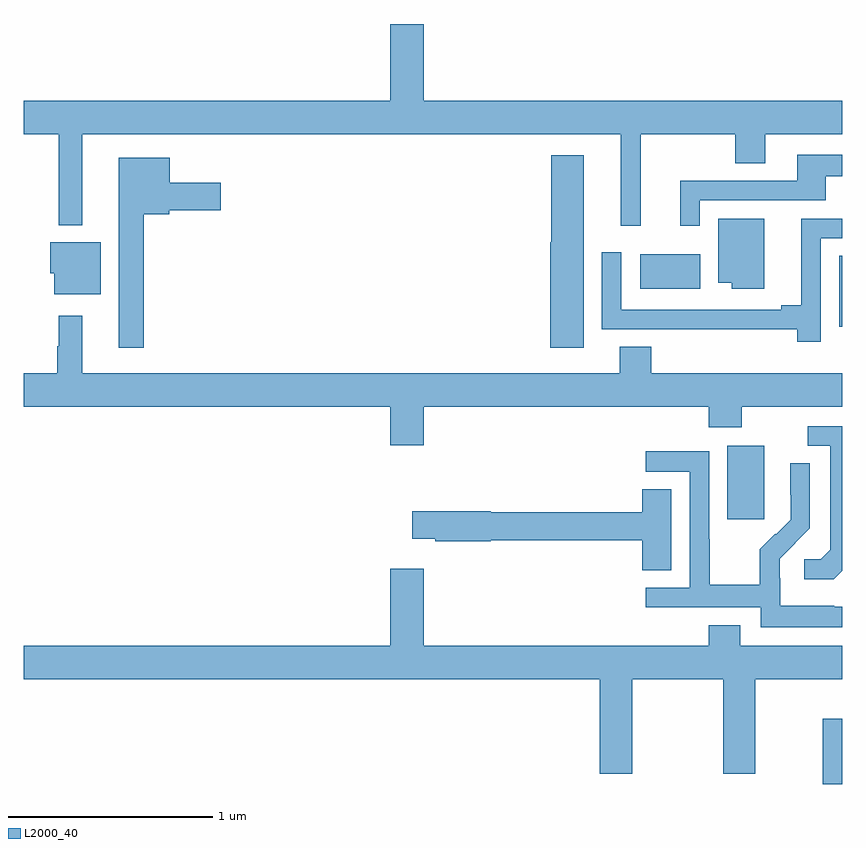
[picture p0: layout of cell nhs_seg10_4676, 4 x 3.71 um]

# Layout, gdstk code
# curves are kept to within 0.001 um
import gdstk
lib = gdstk.Library(unit=1e-6, precision=1e-09)
def R(c, l, rs):  # rectangles x0, y0, x1, y1
    for r in rs: c.add(gdstk.rectangle(r[:2], r[2:], *l))
def P(c, l, *ps):  # polygons
    for p in ps: c.add(gdstk.Polygon(p, *l))
L2000_40 = (2000, 40)

nhs_seg10_4676 = lib.new_cell('nhs_seg10_4676')
R(nhs_seg10_4676, L2000_40, [(382.905,1270.5,383,1270.819), (382.439,1271.793,382.618,1272.154), (382.985,1272.734,383,1273.082), (382.013,1272.92,382.306,1273.09)])
P(nhs_seg10_4676, L2000_40, [(382.016,1273.676),(382.477,1273.676),(382.477,1273.534),(382.624,1273.534),(382.624,1273.676),(383,1273.676),(383,1273.84),(380.956,1273.84),(380.956,1274.215),(380.792,1274.215),(380.792,1273.84),(379,1273.84),(379,1273.676),(379.171,1273.676),(379.171,1273.232),(379.285,1273.232),(379.285,1273.676),(381.917,1273.676),(381.917,1273.23),(382.016,1273.23)],
  [(382.305,1273.353),(382.921,1273.353),(382.921,1273.472),(383,1273.472),(383,1273.576),(382.781,1273.576),(382.781,1273.449),(382.208,1273.449),(382.208,1273.23),(382.305,1273.23)],
  [(381.736,1273.573),(381.578,1273.573),(381.578,1273.149),(381.572,1273.149),(381.572,1272.633),(381.736,1272.633)],
  [(379.585,1273.286),(379.71,1273.286),(379.71,1273.304),(379.963,1273.304),(379.963,1273.438),(379.714,1273.438),(379.714,1273.561),(379.463,1273.561),(379.463,1272.633),(379.585,1272.633)],
  [(382.618,1273.264),(382.394,1273.264),(382.394,1272.95),(382.46,1272.95),(382.46,1272.92),(382.618,1272.92)],
  [(382.896,1273.167),(383,1273.167),(383,1273.263),(382.799,1273.263),(382.799,1272.839),(382.703,1272.839),(382.703,1272.819),(381.921,1272.819),(381.921,1273.099),(381.825,1273.099),(381.825,1272.723),(382.15,1272.723),(382.15,1272.722),(382.78,1272.722),(382.78,1272.663),(382.896,1272.663)],
  [(379.375,1273.147),(379.13,1273.147),(379.13,1272.996),(379.148,1272.996),(379.148,1272.893),(379.375,1272.893)],
  [(380.956,1272.344),(382.349,1272.344),(382.349,1272.245),(382.509,1272.245),(382.509,1272.344),(383,1272.344),(383,1272.508),(382.067,1272.508),(382.067,1272.638),(381.914,1272.638),(381.914,1272.508),(379.285,1272.508),(379.285,1272.79),(379.171,1272.79),(379.171,1272.641),(379.164,1272.641),(379.164,1272.508),(379,1272.508),(379,1272.344),(380.792,1272.344),(380.792,1272.156),(380.956,1272.156)],
  [(383,1271.543),(383,1272.249),(382.833,1272.249),(382.833,1272.153),(382.943,1272.153),(382.943,1271.645),(382.896,1271.598),(382.815,1271.598),(382.815,1271.501),(382.958,1271.501)],
  [(383,1271.367),(382.961,1271.367),(382.961,1271.371),(382.698,1271.371),(382.698,1271.505),(382.696,1271.505),(382.696,1271.602),(382.842,1271.75),(382.842,1272.068),(382.746,1272.068),(382.746,1271.914),(382.748,1271.914),(382.748,1271.792),(382.677,1271.721),(382.674,1271.724),(382.597,1271.647),(382.597,1271.473),(382.353,1271.473),(382.353,1271.696),(382.35,1271.696),(382.35,1272.126),(382.041,1272.126),(382.041,1272.027),(382.254,1272.027),(382.254,1271.46),(382.041,1271.46),(382.041,1271.364),(382.602,1271.364),(382.602,1271.267),(383,1271.267)],
  [(382.165,1271.942),(382.022,1271.942),(382.022,1271.828),(381.282,1271.828),(381.282,1271.834),(380.898,1271.834),(380.898,1271.699),(381.01,1271.699),(381.01,1271.687),(381.282,1271.687),(381.282,1271.692),(382.022,1271.692),(382.022,1271.545),(382.165,1271.545)],
  [(381.975,1271.012),(382.42,1271.012),(382.42,1270.551),(382.575,1270.551),(382.575,1271.012),(383,1271.012),(383,1271.176),(382.501,1271.176),(382.501,1271.275),(382.349,1271.275),(382.349,1271.176),(380.956,1271.176),(380.956,1271.551),(380.792,1271.551),(380.792,1271.176),(379,1271.176),(379,1271.012),(381.815,1271.012),(381.815,1270.551),(381.975,1270.551)])

lib.write_gds('nhs_seg10_4676.gds')
